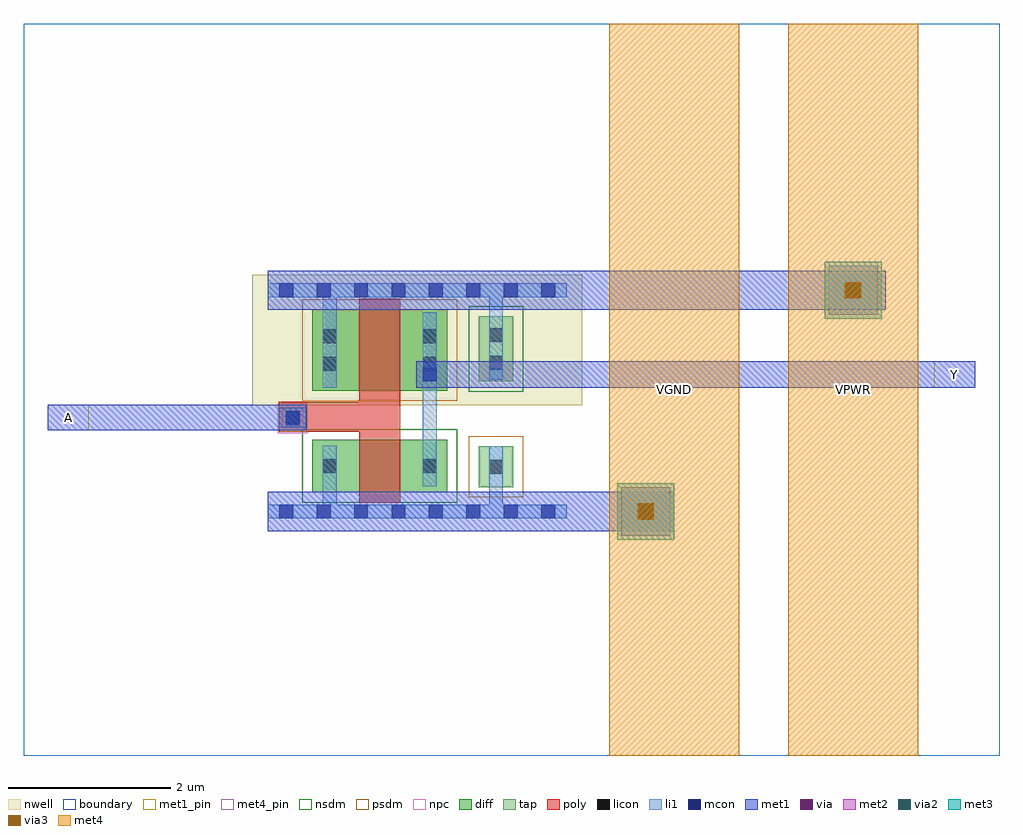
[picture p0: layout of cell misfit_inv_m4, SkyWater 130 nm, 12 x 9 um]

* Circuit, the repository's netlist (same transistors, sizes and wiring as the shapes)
* NGSPICE file created from misfit_inv_m4.ext - technology: sky130A

.subckt misfit_inv_m4 A Y VGND VPWR
X0 Y A VPWR VPWR sky130_fd_pr__pfet_01v8 ad=0.58 pd=3.16 as=0.58 ps=3.16 w=1 l=0.5
X1 Y A VGND VGND sky130_fd_pr__nfet_01v8 ad=0.377 pd=2.46 as=0.377 ps=2.46 w=0.65 l=0.5
.ends

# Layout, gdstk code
import gdstk
lib = gdstk.Library(unit=1e-6, precision=1e-09)
def R(c, l, rs):  # rectangles x0, y0, x1, y1
    for r in rs: c.add(gdstk.rectangle(r[:2], r[2:], *l))
def A(c, l, x, y, w, h, nx, ny, dx, dy):  # array of equal rectangles
    R(c, l, [(x+i*dx, y+j*dy, x+i*dx+w, y+j*dy+h) for i in range(nx) for j in range(ny)])
nwell = (64, 20)
diff = (65, 20)
tap = (65, 44)
poly = (66, 20)
licon = (66, 44)
li1 = (67, 20)
mcon = (67, 44)
met1_pin = (68, 16)
met1 = (68, 20)
via = (68, 44)
met2 = (69, 20)
via2 = (69, 44)
met3 = (70, 20)
via3 = (70, 44)
met4_pin = (71, 16)
met4 = (71, 20)
nsdm = (93, 44)
psdm = (94, 20)
npc = (95, 20)
boundary = (235, 4)

misfit_inv_m4 = lib.new_cell('misfit_inv_m4')
R(misfit_inv_m4, nwell, [(2.81,4.305,6.87,5.91)])
R(misfit_inv_m4, diff, [(3.55,3.235,5.21,3.885), (3.55,4.485,5.21,5.485)])
R(misfit_inv_m4, tap, [(5.6,3.3,6.02,3.8), (5.6,4.6,6.02,5.4)])
R(misfit_inv_m4, poly, [(4.13,3.105,4.63,3.98), (3.14,3.98,4.63,4.35), (4.13,4.35,4.63,5.615)])
R(misfit_inv_m4, licon, [(5.725,3.465,5.895,3.635), (3.68,3.475,3.85,3.645), (4.91,3.475,5.08,3.645), (3.225,4.06,3.395,4.23), (3.68,4.73,3.85,4.9), (4.91,4.73,5.08,4.9), (5.725,4.745,5.895,4.915), (3.68,5.07,3.85,5.24), (4.91,5.07,5.08,5.24), (5.725,5.085,5.895,5.255)])
R(misfit_inv_m4, li1, [(3,2.915,6.68,3.085), (3.68,3.085,3.85,3.81), (5.725,3.085,5.895,3.8), (4.91,3.31,5.08,5.45), (3.145,4.035,3.475,4.275), (3.68,4.52,3.85,5.635), (5.725,4.62,5.895,5.635), (3,5.635,6.68,5.805)])
A(misfit_inv_m4, mcon, 3.145, 2.915, 0.17, 0.17, 8, 2, 0.46, 2.72)
R(misfit_inv_m4, mcon, [(3.225,4.07,3.395,4.24), (4.91,4.6,5.08,4.77)])
R(misfit_inv_m4, met1_pin, [(0.3,4,0.8,4.31), (11.2,4.52,11.7,4.85)])
R(misfit_inv_m4, met1, [(3,2.76,8,3.24), (0.3,4,3.48,4.31), (4.83,4.52,11.7,4.85), (3,5.48,10.6,5.96)])
R(misfit_inv_m4, via, [(7.575,2.925,7.725,3.075), (10.125,5.645,10.275,5.795)])
R(misfit_inv_m4, met2, [(7.35,2.7,7.95,3.3), (9.9,5.42,10.5,6.02)])
R(misfit_inv_m4, via2, [(7.55,2.9,7.75,3.1), (10.1,5.62,10.3,5.82)])
R(misfit_inv_m4, met3, [(7.3,2.65,8,3.35), (9.85,5.37,10.55,6.07)])
R(misfit_inv_m4, via3, [(7.55,2.9,7.75,3.1), (10.1,5.62,10.3,5.82)])
R(misfit_inv_m4, met4_pin, [(7.2,0,8.8,9), (9.4,0,11,9)])
R(misfit_inv_m4, met4, [(7.2,0,8.8,9), (9.4,0,11,9)])
R(misfit_inv_m4, nsdm, [(3.425,3.11,5.335,4.01), (5.475,4.475,6.145,5.525)])
R(misfit_inv_m4, psdm, [(5.475,3.175,6.145,3.925), (3.425,4.36,5.335,5.61)])
R(misfit_inv_m4, npc, [(3.125,3.96,3.495,4.33)])
R(misfit_inv_m4, boundary, [(0,0,12,9)])
misfit_inv_m4.add(gdstk.Label('A', (0.55,4.155), layer=68, texttype=5))
misfit_inv_m4.add(gdstk.Label('Y', (11.45,4.685), layer=68, texttype=5))
misfit_inv_m4.add(gdstk.Label('VGND', (8,4.5), layer=71, texttype=5))
misfit_inv_m4.add(gdstk.Label('VPWR', (10.2,4.5), layer=71, texttype=5))

lib.write_gds('misfit_inv_m4.gds')
